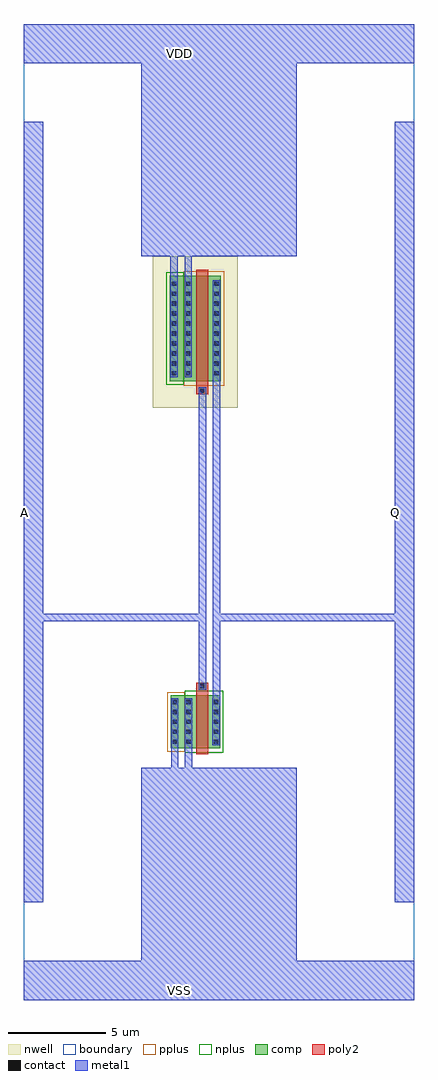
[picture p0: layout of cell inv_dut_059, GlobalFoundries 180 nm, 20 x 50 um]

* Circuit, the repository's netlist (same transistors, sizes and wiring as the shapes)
* inv_dut_059: pfet_03v3 W=5.40u L=0.60u / nfet_03v3 W=2.70u L=0.60u
.SUBCKT inv_dut_059 A Q VDD VSS
MMP Q A VDD VDD pfet_03v3 W=5.40u L=0.60u
MMN Q A VSS VSS nfet_03v3 W=2.70u L=0.60u
.ENDS

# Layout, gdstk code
import gdstk
lib = gdstk.Library(unit=1e-6, precision=1e-09)
def R(c, l, rs):  # rectangles x0, y0, x1, y1
    for r in rs: c.add(gdstk.rectangle(r[:2], r[2:], *l))
def A(c, l, x, y, w, h, nx, ny, dx, dy):  # array of equal rectangles
    R(c, l, [(x+i*dx, y+j*dy, x+i*dx+w, y+j*dy+h) for i in range(nx) for j in range(ny)])
boundary = (0, 0)
nwell = (21, 0)
comp = (22, 0)
poly2 = (30, 0)
pplus = (31, 0)
nplus = (32, 0)
contact = (33, 0)
metal1 = (34, 0)

inv_dut_059 = lib.new_cell('inv_dut_059')
R(inv_dut_059, boundary, [(-10,-25,10,25)])
R(inv_dut_059, nwell, [(-3.395,5.33,0.955,13.09)])
R(inv_dut_059, comp, [(-2.475,-12.1,0.055,-9.4), (-2.535,6.7,0.095,12.1)])
R(inv_dut_059, poly2, [(-1.155,-12.4,-0.555,-8.74), (-1.155,6.02,-0.555,12.4)])
R(inv_dut_059, pplus, [(-2.645,-12.27,-1.765,-9.23), (-1.805,6.46,0.265,12.34)])
R(inv_dut_059, nplus, [(-1.765,-12.34,0.225,-9.16), (-2.705,6.53,-1.805,12.27)])
A(inv_dut_059, contact, -2.375, -11.88, 0.22, 0.22, 1, 5, 0, 0.51)
A(inv_dut_059, contact, -1.665, -11.88, 0.22, 0.22, 1, 5, 0, 0.51)
A(inv_dut_059, contact, -0.265, -11.88, 0.22, 0.22, 1, 5, 0, 0.51)
A(inv_dut_059, contact, -2.415, 6.995, 0.22, 0.22, 1, 10, 0, 0.51)
A(inv_dut_059, contact, -1.685, 6.995, 0.22, 0.22, 1, 10, 0, 0.51)
A(inv_dut_059, contact, -0.245, 6.995, 0.22, 0.22, 1, 10, 0, 0.51)
R(inv_dut_059, contact, [(-0.965,-9.03,-0.745,-8.81), (-0.965,6.1,-0.745,6.32)])
R(inv_dut_059, metal1, [(-10,-25,10,-23), (-3.995,-23,3.995,-13.4), (-10,-20,-9,20), (9,-20,10,20), (-3.995,-13.7,3.995,-13.1), (-2.455,-13.7,-2.075,-9.54), (-1.745,-13.7,-1.365,-9.54), (-2.455,-11.96,-2.075,-9.54), (-1.745,-11.96,-1.365,-9.54), (-0.345,-11.96,0.035,-9.54), (-0.345,-9.92,0.055,-9.54), (-0.325,-9.92,0.055,7.295), (-1.045,-9.11,-0.665,6.4), (-1.045,-9.11,-0.665,-8.73), (-9,-5.6,-3.695,-5.2), (-3.995,-5.6,-0.665,-5.2), (-0.325,-5.6,3.995,-5.2), (3.695,-5.6,9,-5.2), (-1.045,6.02,-0.665,6.4), (-2.495,6.915,-2.115,13.7), (-2.495,6.915,-2.115,11.885), (-1.765,6.915,-1.385,13.7), (-1.765,6.915,-1.385,11.885), (-0.325,6.915,0.055,7.295), (-0.325,6.915,0.055,11.885), (-3.995,13.1,3.995,13.7), (-3.995,13.4,3.995,23), (-10,23,10,25)])
inv_dut_059.add(gdstk.Label('VDD', (-2,23.5), layer=34, texttype=10))
inv_dut_059.add(gdstk.Label('VSS', (-2,-24.5), layer=34, texttype=10))
inv_dut_059.add(gdstk.Label('A', (-9.97,0), layer=34, texttype=10))
inv_dut_059.add(gdstk.Label('Q', (9.03,0), layer=34, texttype=10))

lib.write_gds('inv_dut_059.gds')
